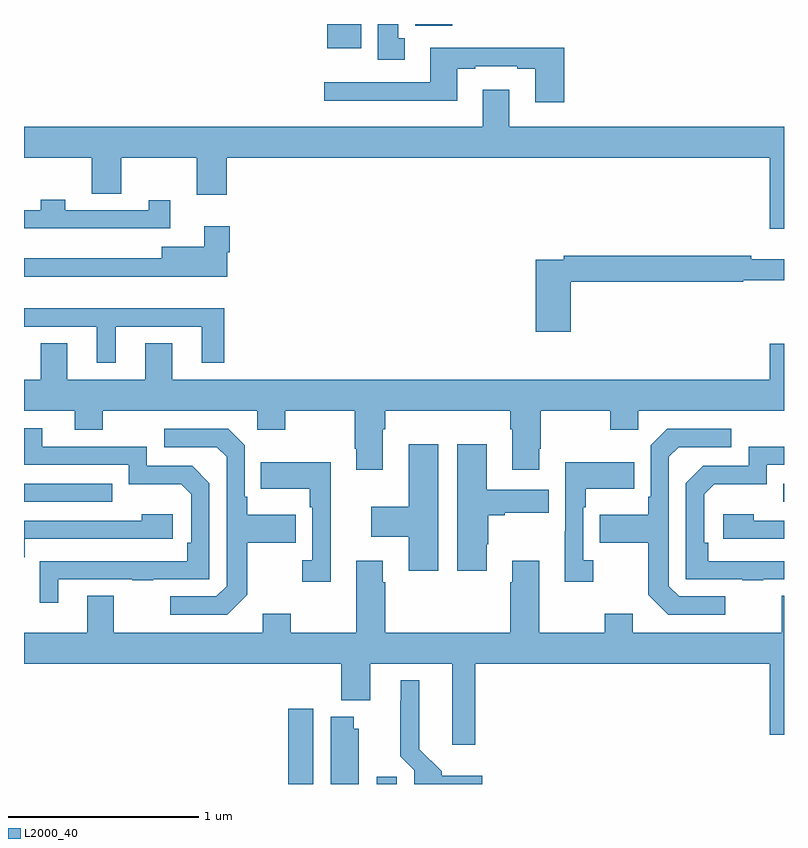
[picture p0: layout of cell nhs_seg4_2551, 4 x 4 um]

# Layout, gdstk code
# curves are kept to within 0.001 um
import gdstk
lib = gdstk.Library(unit=1e-6, precision=1e-09)
def R(c, l, rs):  # rectangles x0, y0, x1, y1
    for r in rs: c.add(gdstk.rectangle(r[:2], r[2:], *l))
def P(c, l, *ps):  # polygons
    for p in ps: c.add(gdstk.Polygon(p, *l))
L2000_40 = (2000, 40)

nhs_seg4_2551 = lib.new_cell('nhs_seg4_2551')
R(nhs_seg4_2551, L2000_40, [(246.392,750.9,246.523,751.297), (246.857,750.9,246.961,750.937), (245,752.385,245.465,752.481), (248.995,752.385,249,752.481), (246.596,754.772,246.775,754.9), (247.058,754.892,247.255,754.9)])
P(nhs_seg4_2551, L2000_40, [(247.003,754.826),(246.97,754.826),(246.97,754.9),(246.863,754.9),(246.863,754.713),(247.003,754.713)],
  [(247.844,754.774),(247.139,754.774),(247.139,754.593),(246.579,754.593),(246.579,754.496),(247.279,754.496),(247.279,754.665),(247.375,754.665),(247.375,754.677),(247.595,754.677),(247.595,754.665),(247.691,754.665),(247.691,754.488),(247.844,754.488)],
  [(249,754.36),(247.555,754.36),(247.555,754.555),(247.415,754.555),(247.415,754.36),(245,754.36),(245,754.196),(245.356,754.196),(245.356,754.006),(245.511,754.006),(245.511,754.196),(245.908,754.196),(245.908,754.002),(246.068,754.002),(246.068,754.196),(248.924,754.196),(248.924,753.822),(249,753.822)],
  [(245.77,753.973),(245.657,753.973),(245.657,753.921),(245.218,753.921),(245.218,753.976),(245.089,753.976),(245.089,753.921),(245,753.921),(245,753.824),(245.77,753.824)],
  [(246.07,753.698),(246.083,753.698),(246.083,753.835),(245.948,753.835),(245.948,753.727),(245.726,753.727),(245.726,753.667),(245,753.667),(245,753.569),(246.07,753.569)],
  [(247.877,753.544),(248.785,753.544),(248.785,753.552),(249,753.552),(249,753.661),(248.828,753.661),(248.828,753.68),(247.84,753.68),(247.84,753.66),(247.694,753.66),(247.694,753.279),(247.877,753.279)],
  [(245.482,753.306),(245.936,753.306),(245.936,753.117),(246.053,753.117),(246.053,753.403),(245,753.403),(245,753.306),(245.384,753.306),(245.384,753.117),(245.482,753.117)],
  [(246.889,752.768),(246.902,752.768),(246.902,752.864),(247.559,752.864),(247.559,752.768),(247.571,752.768),(247.571,752.553),(247.711,752.553),(247.711,752.665),(247.719,752.665),(247.719,752.864),(248.086,752.864),(248.086,752.765),(248.232,752.765),(248.232,752.864),(249,752.864),(249,753.217),(248.924,753.217),(248.924,753.028),(245.779,753.028),(245.779,753.221),(245.639,753.221),(245.639,753.028),(245.227,753.028),(245.227,753.221),(245.087,753.221),(245.087,753.028),(245,753.028),(245,752.864),(245.267,752.864),(245.267,752.765),(245.415,752.765),(245.415,752.864),(246.228,752.864),(246.228,752.765),(246.375,752.765),(246.375,752.864),(246.742,752.864),(246.742,752.665),(246.749,752.665),(246.749,752.553),(246.889,752.553)],
  [(245.179,751.977),(245.569,751.977),(245.569,751.972),(245.681,751.972),(245.681,751.977),(245.976,751.977),(245.976,752.484),(245.886,752.574),(245.646,752.574),(245.646,752.676),(245.095,752.676),(245.095,752.772),(245,752.772),(245,752.58),(245.55,752.58),(245.55,752.477),(245.827,752.477),(245.88,752.424),(245.88,752.17),(245.86,752.17),(245.86,752.073),(245.083,752.072),(245.083,751.854),(245.179,751.854)],
  [(246.175,751.897),(246.175,752.17),(246.431,752.17),(246.431,752.317),(246.175,752.317),(246.175,752.413),(246.162,752.413),(246.162,752.682),(246.075,752.769),(245.739,752.769),(245.739,752.673),(246.015,752.673),(246.066,752.622),(246.066,751.941),(246.012,751.887),(245.769,751.887),(245.769,751.791),(246.069,751.791)],
  [(248.692,751.887),(248.448,751.887),(248.394,751.941),(248.394,752.622),(248.445,752.673),(248.722,752.673),(248.722,752.769),(248.385,752.769),(248.298,752.682),(248.298,752.413),(248.286,752.413),(248.286,752.317),(248.029,752.317),(248.029,752.17),(248.286,752.17),(248.286,751.897),(248.391,751.791),(248.692,751.791)],
  [(247.435,752.161),(247.443,752.161),(247.443,752.315),(247.531,752.315),(247.531,752.327),(247.763,752.327),(247.763,752.449),(247.435,752.449),(247.435,752.689),(247.28,752.689),(247.28,752.022),(247.435,752.022)],
  [(247.18,752.689),(247.025,752.689),(247.025,752.359),(246.828,752.359),(246.828,752.201),(247.025,752.201),(247.025,752.022),(247.18,752.022)],
  [(248.891,751.977),(249,751.977),(249,752.073),(248.6,752.073),(248.6,752.17),(248.58,752.17),(248.58,752.424),(248.633,752.477),(248.91,752.477),(248.91,752.58),(249,752.58),(249,752.676),(248.814,752.676),(248.814,752.574),(248.574,752.574),(248.484,752.484),(248.484,751.977),(248.779,751.977),(248.779,751.972),(248.891,751.972)],
  [(247.996,752.078),(247.944,752.078),(247.944,752.357),(247.957,752.357),(247.957,752.453),(248.213,752.453),(248.213,752.593),(247.848,752.593),(247.848,752.231),(247.847,752.231),(247.847,751.965),(247.996,751.965)],
  [(246.614,752.593),(246.247,752.593),(246.247,752.453),(246.504,752.453),(246.504,752.357),(246.516,752.357),(246.516,752.078),(246.465,752.078),(246.465,751.965),(246.614,751.965)],
  [(245.005,752.19),(245.782,752.19),(245.782,752.32),(245.621,752.32),(245.621,752.286),(245,752.286),(245,752.093),(245.005,752.093)],
  [(249,752.286),(248.84,752.286),(248.84,752.32),(248.679,752.32),(248.679,752.19),(249,752.19)],
  [(247.376,751.532),(248.924,751.532),(248.924,751.158),(249,751.158),(249,751.891),(248.987,751.891),(248.987,751.696),(248.203,751.696),(248.203,751.795),(248.056,751.795),(248.056,751.696),(247.711,751.696),(247.711,752.074),(247.571,752.074),(247.571,751.961),(247.559,751.961),(247.559,751.696),(246.902,751.696),(246.902,751.961),(246.889,751.961),(246.889,752.074),(246.749,752.074),(246.749,751.696),(246.405,751.696),(246.405,751.795),(246.257,751.795),(246.257,751.696),(245.473,751.696),(245.473,751.891),(245.333,751.891),(245.333,751.696),(245,751.696),(245,751.532),(246.671,751.532),(246.671,751.34),(246.823,751.34),(246.823,751.532),(247.253,751.532),(247.253,751.107),(247.376,751.107)],
  [(247.411,750.943),(247.199,750.943),(247.199,750.966),(247.081,751.084),(247.081,751.447),(246.983,751.447),(246.983,751.337),(246.979,751.337),(246.979,751.046),(247.053,750.972),(247.053,750.9),(247.411,750.9)],
  [(246.763,751.191),(246.736,751.191),(246.736,751.255),(246.614,751.255),(246.614,750.9),(246.763,750.9)])

lib.write_gds('nhs_seg4_2551.gds')
